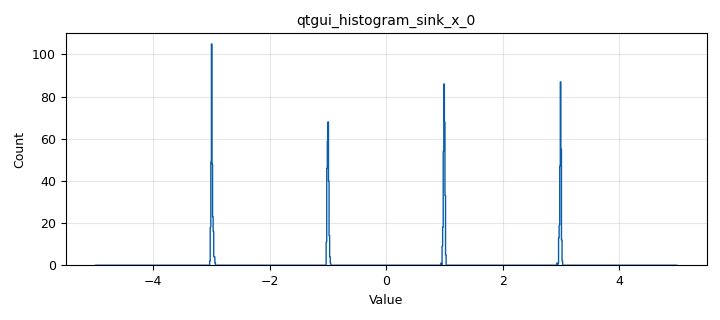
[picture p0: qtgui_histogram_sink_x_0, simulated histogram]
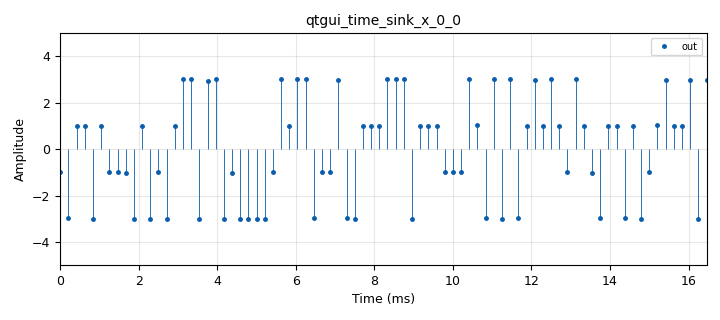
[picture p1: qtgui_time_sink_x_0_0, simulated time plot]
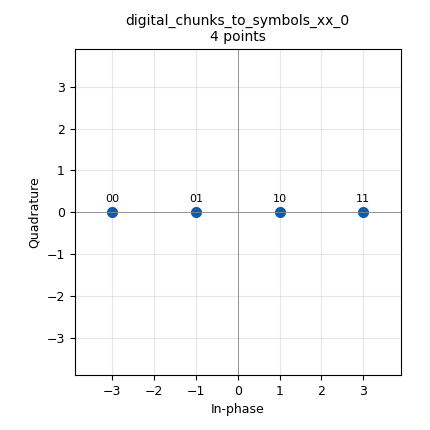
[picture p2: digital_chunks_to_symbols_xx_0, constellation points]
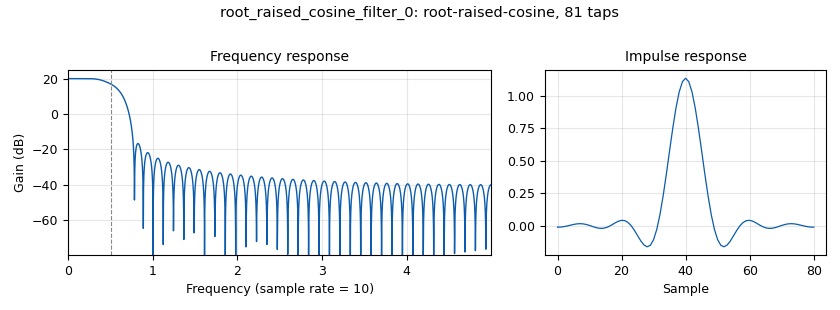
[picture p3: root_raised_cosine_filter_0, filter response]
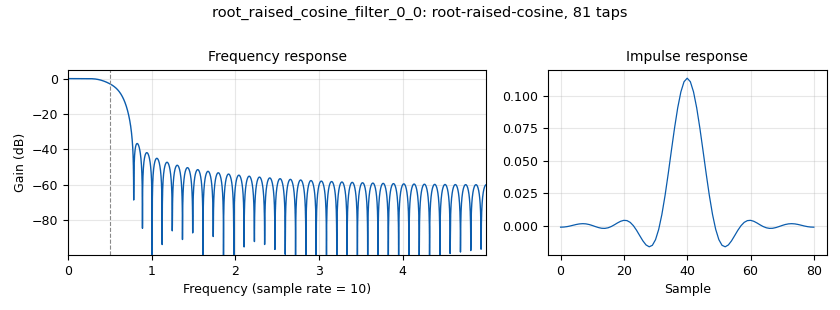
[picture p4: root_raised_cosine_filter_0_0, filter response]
options:
  parameters:
    author: pthrr, sp5wwp
    generate_options: qt_gui
    id: m17_channel
    output_language: python
    title: Not titled yet
  states: {}

blocks:
- name: carrier_freq
  id: variable
  parameters:
    value: '44000'
  states: {}
- name: fsk_deviation
  id: variable
  parameters:
    value: '800'
  states: {}
- name: pi
  id: variable
  parameters:
    value: '3.141592653589793238462643383279502884197 '
  states: {}
- name: rrc_length
  id: variable
  parameters:
    value: '8'
  states: {}
- name: symbol_rate
  id: variable
  parameters:
    value: '4800'
  states: {}
- name: analog_frequency_modulator_fc_0
  id: analog_frequency_modulator_fc
  parameters:
    sensitivity: (fsk_deviation*2.0*pi)/(symbol_rate*10.0)
  states: {}
- name: analog_quadrature_demod_cf_0
  id: analog_quadrature_demod_cf
  parameters:
    gain: (symbol_rate*10.0)/(2.0*pi*fsk_deviation)
  states: {}
- name: analog_random_source_x_0
  id: analog_random_source_x
  parameters:
    max: '4'
    min: '0'
    num_samps: '65536'
    repeat: 'True'
    type: byte
  states: {}
- name: channels_channel_model_0
  id: channels_channel_model
  parameters:
    epsilon: '1.0'
    freq_offset: '0.0'
    noise_voltage: '0.0'
    seed: '0'
    taps: 1.0 + 1.0j
  states: {state: bypassed}
- name: digital_chunks_to_symbols_xx_0
  id: digital_chunks_to_symbols_xx
  parameters:
    dimension: '1'
    in_type: byte
    out_type: float
    symbol_table: '[-3, -1, 1, 3]'
  states: {}
- name: digital_symbol_sync_xx_0
  id: digital_symbol_sync_xx
  parameters:
    damping: '1.0'
    loop_bw: '0.01'
    max_dev: '1.5'
    osps: '1'
    resamp_type: digital.IR_MMSE_8TAP
    sps: '10'
    ted_gain: '1.0'
    ted_type: digital.TED_GARDNER
    type: ff
  states: {}
- name: qtgui_eye_sink_x_0
  id: qtgui_eye_sink_x
  parameters:
    samp_per_symbol: '10'
    size: '4096'
    srate: symbol_rate*10
    type: float
    ymax: '0.05'
    ymin: '-0.05'
  states: {state: disabled}
- name: qtgui_histogram_sink_x_0
  id: qtgui_histogram_sink_x
  parameters:
    accum: 'True'
    bins: '1000'
    size: '1024'
    type: float
    xmax: '5'
    xmin: '-5'
  states: {}
- name: qtgui_time_sink_x_0_0
  id: qtgui_time_sink_x
  parameters:
    grid: 'True'
    label1: out
    marker1: '0'
    size: '80'
    srate: '4800'
    stemplot: 'True'
    type: float
    update_time: '1'
    ymax: '5'
    ymin: '-5'
  states: {}
- name: qtgui_time_sink_x_1
  id: qtgui_time_sink_x
  parameters:
    size: '1024'
    srate: symbol_rate*10
    type: float
    ymax: '5'
    ymin: '-5'
  states: {state: disabled}
- name: qtgui_waterfall_sink_x_0
  id: qtgui_waterfall_sink_x
  parameters:
    bw: symbol_rate*10.0
    fc: '0'
    fftsize: '1024'
    type: complex
  states: {state: disabled}
- name: root_raised_cosine_filter_0
  id: root_raised_cosine_filter
  parameters:
    alpha: '0.5'
    gain: '10'
    interp: '10'
    ntaps: rrc_length*10+1
    samp_rate: '10'
    sym_rate: '1'
    type: interp_fir_filter_fff
  states: {}
- name: root_raised_cosine_filter_0_0
  id: root_raised_cosine_filter
  parameters:
    alpha: '0.5'
    gain: '1'
    interp: '1'
    ntaps: rrc_length*10+1
    samp_rate: '10'
    sym_rate: '1'
    type: interp_fir_filter_fff
  states: {}

connections:
- [analog_frequency_modulator_fc_0, '0', channels_channel_model_0, '0']
- [analog_frequency_modulator_fc_0, '0', qtgui_waterfall_sink_x_0, '0']
- [analog_quadrature_demod_cf_0, '0', qtgui_time_sink_x_1, '0']
- [analog_quadrature_demod_cf_0, '0', root_raised_cosine_filter_0_0, '0']
- [analog_random_source_x_0, '0', digital_chunks_to_symbols_xx_0, '0']
- [channels_channel_model_0, '0', analog_quadrature_demod_cf_0, '0']
- [digital_chunks_to_symbols_xx_0, '0', root_raised_cosine_filter_0, '0']
- [digital_symbol_sync_xx_0, '0', qtgui_eye_sink_x_0, '0']
- [digital_symbol_sync_xx_0, '0', qtgui_histogram_sink_x_0, '0']
- [digital_symbol_sync_xx_0, '0', qtgui_time_sink_x_0_0, '0']
- [root_raised_cosine_filter_0, '0', analog_frequency_modulator_fc_0, '0']
- [root_raised_cosine_filter_0_0, '0', digital_symbol_sync_xx_0, '0']

metadata:
  file_format: 1
